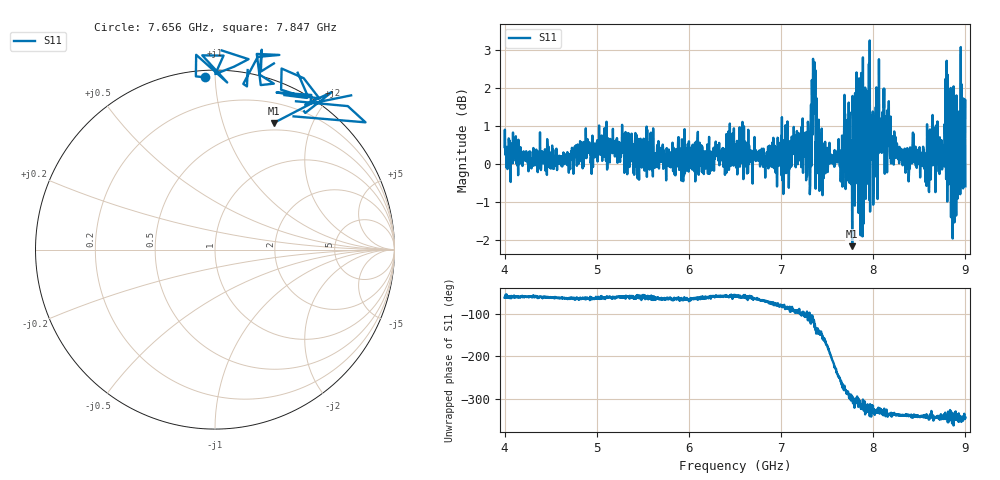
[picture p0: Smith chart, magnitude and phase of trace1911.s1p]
! Created with skrf 1.8.0 (http://scikit-rf.org).
# Hz S RI R 50.0
!freq ReS11 ImS11
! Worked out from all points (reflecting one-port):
!   1601 points, 4 GHz to 9 GHz, reference 50 ohm
!   lowest |S11| = -2.2 dB at 7.772 GHz (marker M1), VSWR 8.04, Z = 20.7 + j74.4 ohm
!   phase of S11 starts at -61 deg and turns -284 deg over the sweep
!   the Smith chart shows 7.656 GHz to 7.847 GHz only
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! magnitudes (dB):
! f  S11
! 4 GHz  0.4
! 4.625 GHz  -0.1
! 5.25 GHz  0.2
! 5.875 GHz  0.2
! 6.5 GHz  0.5
! 7.125 GHz  0.3
! 7.294 GHz  1.0
! 7.319 GHz  0.1
! 7.347 GHz  2.8
! 7.372 GHz  2.5
! 7.4 GHz  0.4
! 7.438 GHz  0.3
! 7.653 GHz  0.2
! 7.709 GHz  1.2
! 7.75 GHz  -0.3
! 7.772 GHz  -2.2
! 7.828 GHz  1.6
! 7.884 GHz  -1.9
! 7.938 GHz  1.6
! 7.991 GHz  0.6
! 8.097 GHz  1.0
! 8.375 GHz  0.1
! 8.444 GHz  0.1
! 8.584 GHz  1.0
! 8.809 GHz  2.4
! 8.919 GHz  -0.5
! 8.972 GHz  0.4
! 9 GHz  -0.6
